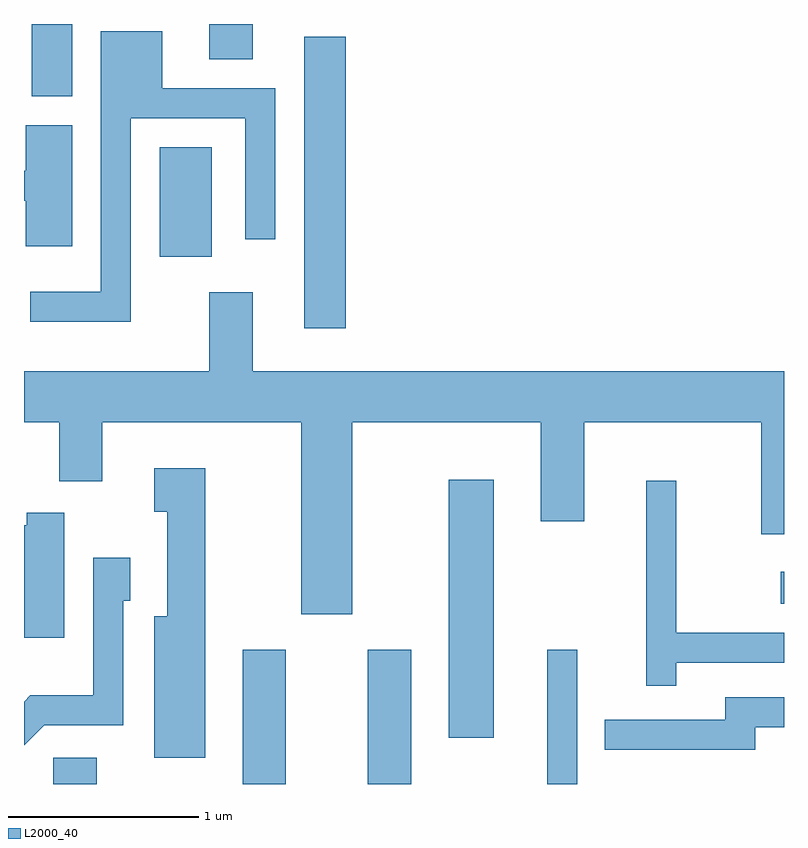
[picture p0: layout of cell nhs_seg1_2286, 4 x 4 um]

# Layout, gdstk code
import gdstk
lib = gdstk.Library(unit=1e-6, precision=1e-09)
def R(c, l, rs):  # rectangles x0, y0, x1, y1
    for r in rs: c.add(gdstk.rectangle(r[:2], r[2:], *l))
def P(c, l, *ps):  # polygons
    for p in ps: c.add(gdstk.Polygon(p, *l))
L2000_40 = (2000, 40)

nhs_seg1_2286 = lib.new_cell('nhs_seg1_2286')
R(nhs_seg1_2286, L2000_40, [(255.766,857.712,255.994,857.849), (256.761,857.712,256.989,858.419), (257.421,857.712,257.649,858.419), (258.366,857.712,258.524,858.418), (257.846,857.956,258.084,859.314), (259.593,858.661,259.611,858.829), (257.086,860.111,257.304,861.644), (256.326,860.486,256.599,861.064), (255.651,861.331,255.864,861.712), (256.586,861.526,256.814,861.712)])
P(nhs_seg1_2286, L2000_40, [(256.174,861.216),(256.776,861.216),(256.776,860.578),(256.934,860.578),(256.934,861.374),(256.339,861.374),(256.339,861.674),(256.016,861.674),(256.016,860.304),(255.643,860.304),(255.643,860.146),(256.174,860.146)],
  [(255.864,861.179),(255.621,861.179),(255.621,860.939),(255.611,860.939),(255.611,860.781),(255.621,860.781),(255.621,860.541),(255.864,860.541)],
  [(257.339,859.616),(258.331,859.616),(258.331,859.096),(258.559,859.096),(258.559,859.616),(259.491,859.616),(259.491,859.026),(259.611,859.026),(259.611,859.884),(256.814,859.884),(256.814,860.299),(256.586,860.299),(256.586,859.884),(255.611,859.884),(255.611,859.616),(255.796,859.616),(255.796,859.306),(256.024,859.306),(256.024,859.616),(257.071,859.616),(257.071,858.606),(257.339,858.606)],
  [(256.564,859.374),(256.296,859.374),(256.296,859.146),(256.366,859.146),(256.366,858.594),(256.296,858.594),(256.296,857.851),(256.564,857.851)],
  [(259.044,858.351),(259.611,858.351),(259.611,858.509),(259.044,858.509),(259.044,859.308),(258.886,859.308),(258.886,858.228),(259.044,858.228)],
  [(255.824,859.139),(255.626,859.139),(255.626,859.074),(255.611,859.074),(255.611,858.481),(255.824,858.481)],
  [(255.717,858.021),(256.134,858.021),(256.134,858.676),(256.169,858.676),(256.169,858.904),(255.976,858.904),(255.976,858.179),(255.644,858.179),(255.611,858.146),(255.611,857.915)],
  [(259.459,858.011),(259.611,858.011),(259.611,858.169),(259.301,858.169),(259.301,858.049),(258.668,858.049),(258.668,857.891),(259.459,857.891)])

lib.write_gds('nhs_seg1_2286.gds')
